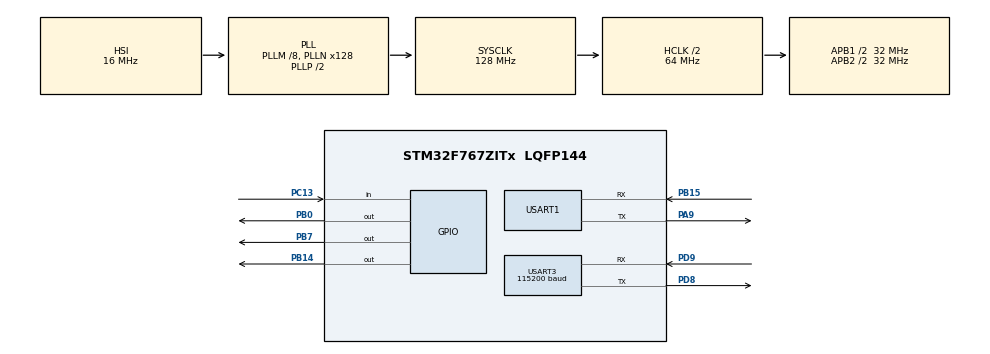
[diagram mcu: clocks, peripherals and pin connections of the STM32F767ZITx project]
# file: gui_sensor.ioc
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Dma.Request0=USART3_RX
Dma.Request1=USART1_RX
Dma.USART1_RX.1.Direction=DMA_PERIPH_TO_MEMORY
Dma.USART1_RX.1.FIFOMode=DMA_FIFOMODE_DISABLE
Dma.USART1_RX.1.Instance=DMA2_Stream2
Dma.USART1_RX.1.MemDataAlignment=DMA_MDATAALIGN_BYTE
Dma.USART1_RX.1.MemInc=DMA_MINC_ENABLE
Dma.USART1_RX.1.Mode=DMA_CIRCULAR
Dma.USART1_RX.1.PeriphDataAlignment=DMA_PDATAALIGN_BYTE
Dma.USART1_RX.1.PeriphInc=DMA_PINC_DISABLE
Dma.USART1_RX.1.Priority=DMA_PRIORITY_LOW
Dma.USART3_RX.0.Direction=DMA_PERIPH_TO_MEMORY
Dma.USART3_RX.0.FIFOMode=DMA_FIFOMODE_DISABLE
Dma.USART3_RX.0.Instance=DMA1_Stream1
Dma.USART3_RX.0.MemDataAlignment=DMA_MDATAALIGN_BYTE
Dma.USART3_RX.0.MemInc=DMA_MINC_ENABLE
Dma.USART3_RX.0.Mode=DMA_CIRCULAR
Dma.USART3_RX.0.PeriphDataAlignment=DMA_PDATAALIGN_BYTE
Dma.USART3_RX.0.PeriphInc=DMA_PINC_DISABLE
Dma.USART3_RX.0.Priority=DMA_PRIORITY_VERY_HIGH
Mcu.Family=STM32F7
Mcu.Name=STM32F767ZITx
Mcu.Package=LQFP144
NVIC.DMA1_Stream1_IRQn=true\:0\:0\:false\:false\:true\:false\:true
NVIC.DMA2_Stream2_IRQn=true\:0\:0\:false\:false\:true\:false\:true
NVIC.PriorityGroup=NVIC_PRIORITYGROUP_4
NVIC.USART1_IRQn=true\:0\:0\:false\:false\:true\:true\:true
NVIC.USART3_IRQn=true\:0\:0\:false\:false\:true\:true\:true
PA13.Mode=Serial_Wire
PA13.Signal=SYS_JTMS-SWDIO
PA14.Mode=Serial_Wire
PA14.Signal=SYS_JTCK-SWCLK
PA9.Mode=Asynchronous
PA9.Signal=USART1_TX
PB0.Signal=GPIO_Output
PB14.Signal=GPIO_Output
PB15.Mode=Asynchronous
PB15.Signal=USART1_RX
PB7.Signal=GPIO_Output
PC13.Signal=GPIO_Input
PD8.Mode=Asynchronous
PD8.Signal=USART3_TX
PD9.Mode=Asynchronous
PD9.Signal=USART3_RX
PH0/OSC_IN.Mode=HSE-External-Oscillator
PH0/OSC_IN.Signal=RCC_OSC_IN
PH1/OSC_OUT.Mode=HSE-External-Oscillator
PH1/OSC_OUT.Signal=RCC_OSC_OUT
ProjectManager.HeapSize=0x200
ProjectManager.StackSize=0x400
ProjectManager.TargetToolchain=MDK-ARM V5.27
RCC.AHBCLKDivider=RCC_SYSCLK_DIV2
RCC.AHBFreq_Value=64000000
RCC.APB1CLKDivider=RCC_HCLK_DIV2
RCC.APB1Freq_Value=32000000
RCC.APB1TimFreq_Value=64000000
RCC.APB2CLKDivider=RCC_HCLK_DIV2
RCC.APB2Freq_Value=32000000
RCC.APB2TimFreq_Value=64000000
RCC.CortexFreq_Value=64000000
RCC.HCLKFreq_Value=64000000
RCC.HSE_VALUE=25000000
RCC.HSI_VALUE=16000000
RCC.LSE_VALUE=32768
RCC.PLLM=8
RCC.PLLN=128
RCC.SYSCLKFreq_VALUE=128000000
RCC.SYSCLKSource=RCC_SYSCLKSOURCE_PLLCLK
RCC.USBFreq_Value=128000000
RCC.VCOOutputFreq_Value=256000000
USART1.VirtualMode-Asynchronous=VM_ASYNC
USART3.BaudRate=115200
USART3.VirtualMode-Asynchronous=VM_ASYNC
board=custom

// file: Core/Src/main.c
/* USER CODE BEGIN Header */
/**
  ******************************************************************************
  * @file           : main.c
  * @brief          : Main program body
  ******************************************************************************
  * @attention
  *
  * <h2><center>&copy; Copyright (c) 2020 STMicroelectronics.
  * All rights reserved.</center></h2>
  *
  * This software component is licensed by ST under BSD 3-Clause license,
  * the "License"; You may not use this file except in compliance with the
  * License. You may obtain a copy of the License at:
  *                        opensource.org/licenses/BSD-3-Clause
  *
  ******************************************************************************
  */
/* USER CODE END Header */
#include "main.h"
#include "dma.h"
#include "usart.h"
#include "gpio.h"

/* USER CODE BEGIN Includes */
#include "serial_gui.h"
/* USER CODE END Includes */

void SystemClock_Config(void);

/* USER CODE BEGIN 0 */

	int kk=0;
	int jj=0;
	char newBuffer[20];
  char rx_buffer[14];
	char rx_buffer2[42];
	int numDetec = 0;
	int ll=0;

	char packet[50];

	// A mod mesaj hazirlama
	char messagges[10][100] = {"Model: Arm Cortex-M4","Version: stm32f767ZI"};

	// C komutu icin senaryo
	float P     = 1;
	float Vrms  = 2;
	float Irms  = 3;
	float pf    = 4;
	float f     = 5;
	float dcCur = 6;
	float dcVol = 7;

	// B komutu icin senaryo
	float power    = 0;
	float voltage  = 0;
	float current  = 0;
	float resistor = 0;

	void HAL_UART_RxCpltCallback(UART_HandleTypeDef *huart)
{

		for(int i=0;i<14;i++)
		{
			if(rx_buffer[i] == 'B')
			{
				jj = i;
				break;
			}
		}

		ll = 8+10*charToint(rx_buffer[2+jj])+charToint(rx_buffer[3+jj]);

		for(int i=0;i<14;i++)
		{
			newBuffer[i] = rx_buffer[i+jj];
			if(i==ll || i>=ll)
				newBuffer[i] = 0;
		}

		for(int i=0;i<=13;i++)
		rx_buffer[i] = 0;
}

void HAL_UART_TxCpltCallback(UART_HandleTypeDef *huart)
{

}

/* USER CODE END 0 */

int main(void)
{

  /* MCU Configuration--------------------------------------------------------*/

  /* Reset of all peripherals, Initializes the Flash interface and the Systick. */
  HAL_Init();

  /* Configure the system clock */
  SystemClock_Config();

  /* Initialize all configured peripherals */
  MX_GPIO_Init();
  MX_DMA_Init();
  MX_USART3_UART_Init();
  MX_USART1_UART_Init();
  /* USER CODE BEGIN 2 */
	HAL_UART_Receive_DMA(&huart3, (uint8_t *)rx_buffer, 14);
	HAL_UART_Receive_DMA(&huart1, (uint8_t *)rx_buffer2, 42);
  /* USER CODE END 2 */

  /* Infinite loop */
  /* USER CODE BEGIN WHILE */
  while (1)
  {

		// A
		if(rx_buffer[0] == 'A')
		{
			HAL_GPIO_TogglePin(GPIOB,GPIO_PIN_0);
			sendmodA_Packets(&huart3,2,messagges);
			rx_buffer[0] = '!';
		}

		if(newBuffer[0]=='B')
		{
			//power   = power   + 2;
			current = current + 5;
			voltage = voltage + 7;

			power = stringTofloat(packet);
			if(current== 30000)
			{
				//power   = 0;
				current = 0;
				voltage = 0;
			}

			if(newBuffer[1] == 'P')
			{
					sendmodB_mcuPackets(&huart1,power,'P');
					HAL_GPIO_TogglePin(GPIOB,GPIO_PIN_14);
			}

			if(newBuffer[1] == 'R')
			{
					sendmodB_mcuPackets(&huart1,power,'R');
					HAL_GPIO_TogglePin(GPIOB,GPIO_PIN_14);
			}

			if(newBuffer[1] == 'V')
			{
					sendmodB_mcuPackets(&huart1,power,'V');
					HAL_GPIO_TogglePin(GPIOB,GPIO_PIN_14);
			}

			if(newBuffer[1] == 'I')
			{
					sendmodB_mcuPackets(&huart1,power,'I');
					HAL_GPIO_TogglePin(GPIOB,GPIO_PIN_14);
			}

			HAL_GPIO_TogglePin(GPIOB,GPIO_PIN_7);
			receiveAsciiPackets(newBuffer,packet);
			sendmodB_Packets(&huart3,power,voltage,current,resistor);
			newBuffer[0]='!';
		}

		// C
		if(rx_buffer[0] == 'C')
		{
			/*P     = P     + 1;
			Vrms  = Vrms  + 1;
			Irms  = Irms  + 1;
			pf    = pf    + 1;
			f     = f     + 1;
			dcCur = dcCur + 1;
			dcVol = dcVol + 1;	*/

			if(P== 1000)
			{
				P     = 1 ;
				Vrms  = 2 ;
				Irms  = 3 ;
				pf    = 4 ;
				f     = 5 ;
				dcCur = 6 ;
				dcVol =	7 ;
			}

			HAL_GPIO_TogglePin(GPIOB,GPIO_PIN_14);
			sendmodC_Packets(&huart3,P,Vrms,Irms,pf,f,dcCur,dcVol);
			HAL_GPIO_WritePin(GPIOB,GPIO_PIN_14,GPIO_PIN_RESET);
			rx_buffer[0] = '!';
		}

    /* USER CODE END WHILE */

  }
}

void SystemClock_Config(void)
{
  RCC_OscInitTypeDef RCC_OscInitStruct = {0};
  RCC_ClkInitTypeDef RCC_ClkInitStruct = {0};
  RCC_PeriphCLKInitTypeDef PeriphClkInitStruct = {0};

  /** Configure the main internal regulator output voltage
  */
  __HAL_RCC_PWR_CLK_ENABLE();
  __HAL_PWR_VOLTAGESCALING_CONFIG(PWR_REGULATOR_VOLTAGE_SCALE3);
  /** Initializes the RCC Oscillators according to the specified parameters
  * in the RCC_OscInitTypeDef structure.
  */
  RCC_OscInitStruct.OscillatorType = RCC_OSCILLATORTYPE_HSI;
  RCC_OscInitStruct.HSIState = RCC_HSI_ON;
  RCC_OscInitStruct.HSICalibrationValue = RCC_HSICALIBRATION_DEFAULT;
  RCC_OscInitStruct.PLL.PLLState = RCC_PLL_ON;
  RCC_OscInitStruct.PLL.PLLSource = RCC_PLLSOURCE_HSI;
  RCC_OscInitStruct.PLL.PLLM = 8;
  RCC_OscInitStruct.PLL.PLLN = 128;
  RCC_OscInitStruct.PLL.PLLP = RCC_PLLP_DIV2;
  RCC_OscInitStruct.PLL.PLLQ = 2;
  if (HAL_RCC_OscConfig(&RCC_OscInitStruct) != HAL_OK)
  {
    Error_Handler();
  }
  /** Initializes the CPU, AHB and APB buses clocks
  */
  RCC_ClkInitStruct.ClockType = RCC_CLOCKTYPE_HCLK|RCC_CLOCKTYPE_SYSCLK
                              |RCC_CLOCKTYPE_PCLK1|RCC_CLOCKTYPE_PCLK2;
  RCC_ClkInitStruct.SYSCLKSource = RCC_SYSCLKSOURCE_PLLCLK;
  RCC_ClkInitStruct.AHBCLKDivider = RCC_SYSCLK_DIV2;
  RCC_ClkInitStruct.APB1CLKDivider = RCC_HCLK_DIV2;
  RCC_ClkInitStruct.APB2CLKDivider = RCC_HCLK_DIV2;

  if (HAL_RCC_ClockConfig(&RCC_ClkInitStruct, FLASH_LATENCY_2) != HAL_OK)
  {
    Error_Handler();
  }
  PeriphClkInitStruct.PeriphClockSelection = RCC_PERIPHCLK_USART1|RCC_PERIPHCLK_USART3;
  PeriphClkInitStruct.Usart1ClockSelection = RCC_USART1CLKSOURCE_PCLK2;
  PeriphClkInitStruct.Usart3ClockSelection = RCC_USART3CLKSOURCE_PCLK1;
  if (HAL_RCCEx_PeriphCLKConfig(&PeriphClkInitStruct) != HAL_OK)
  {
    Error_Handler();
  }
}

void Error_Handler(void)
{
}

/************************ (C) COPYRIGHT STMicroelectronics *****END OF FILE****/
